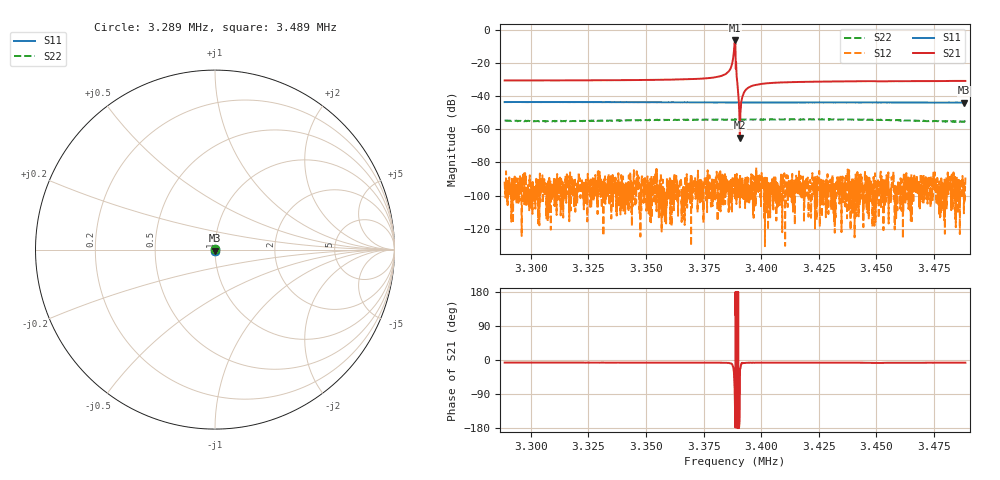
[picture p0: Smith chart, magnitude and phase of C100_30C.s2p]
# Hz S dB R 50.000
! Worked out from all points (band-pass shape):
!   6401 points, 3.289 MHz to 3.489 MHz, reference 50 ohm
!   highest |S21| = -6.47 dB at 3.389 MHz (marker M1); lowest = -65.0 dB at 3.391 MHz (marker M2)
!   |S21| within 3 dB of the highest: 3.388345 MHz to 3.388767 MHz (422.8 Hz wide, 0.0125 % of centre)
!   lowest |S11| = -44.0 dB at 3.488 MHz (marker M3), VSWR 1.01, Z = 49.9 - j0.627 ohm
!   |S11| at or under -10 dB: start of sweep to end of sweep
!   |S22| runs from -55.7 to -53.8 dB; largest |S21 - S12| = 0.47
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3288594  -43.62 -95.0  -30.59 -6.8  -91.59 4.3  -54.83 96.0
3321938  -43.62 -95.5  -30.48 -6.9  -95.71 55.6  -55.03 92.3
3355282  -43.69 -96.6  -30.19 -7.0  -98.95 141.0  -54.48 90.2
3382094  -43.82 -96.3  -28.05 -7.2  -93.48 74.3  -54.19 93.4
3385719  -43.81 -96.4  -25.36 -7.7  -94.93 -21.9  -54.17 94.4
3386875  -43.80 -96.2  -22.63 -8.7  -102.27 82.6  -54.25 95.1
3387469  -43.79 -96.2  -19.67 -12.8  -90.40 9.8  -54.15 94.3
3387844  -43.82 -96.5  -16.78 -19.2  -90.97 27.1  -54.36 94.6
3388594  -43.81 -96.4  -6.47 -118.5  -87.43 -146.8  -53.83 97.2
3389282  -43.84 -96.3  -27.81 -174.5  -93.97 42.4  -54.12 94.9
3389906  -43.85 -96.1  -36.37 179.3  -98.08 45.7  -54.00 95.4
3390219  -43.83 -96.5  -42.63 -178.0  -100.63 116.0  -54.09 94.9
3390688  -43.80 -96.2  -65.00 -86.7  -107.10 114.9  -54.13 94.7
3391344  -43.83 -96.1  -43.27 -9.6  -96.52 115.6  -54.17 94.7
3392125  -43.84 -96.1  -39.06 -8.2  -99.71 -43.9  -54.24 94.3
3393000  -43.84 -96.3  -36.75 -7.8  -99.25 46.4  -54.13 95.9
3396250  -43.88 -96.1  -33.73 -7.2  -94.38 137.8  -54.22 96.1
3404406  -43.84 -96.0  -32.10 -7.1  -97.96 29.5  -54.06 95.3
3421938  -43.80 -96.2  -31.35 -7.1  -99.23 60.7  -54.11 93.8
3455282  -43.77 -96.2  -31.08 -7.3  -116.81 -45.8  -54.40 88.6
3487813  -43.99 -96.0  -30.86 -7.2  -90.92 19.4  -55.43 87.8
3488594  -43.95 -96.3  -30.86 -7.2  -88.78 -76.3  -55.66 88.3
